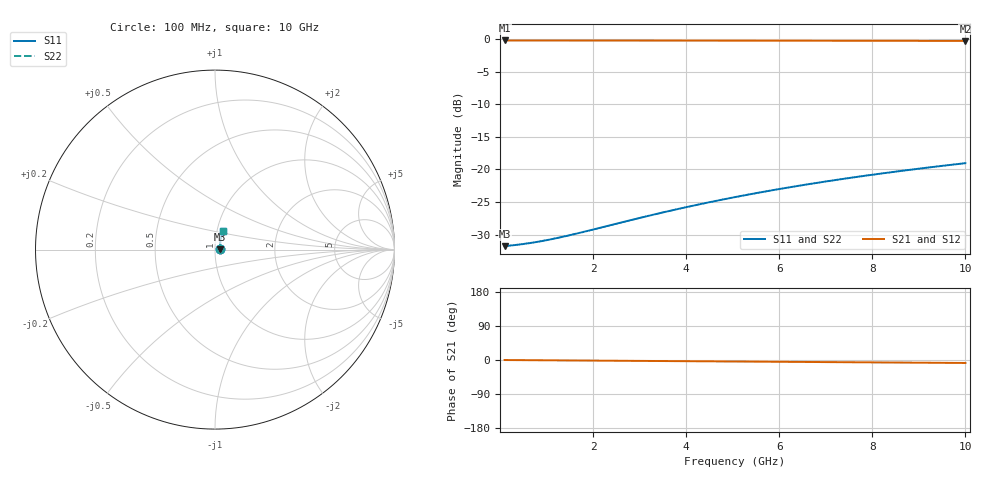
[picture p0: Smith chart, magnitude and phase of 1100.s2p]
# Hz S RI R 50.00
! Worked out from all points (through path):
!   100 points, 100 MHz to 10 GHz, reference 50 ohm
!   highest |S21| = -0.23 dB at 100 MHz (marker M1); lowest = -0.3 dB at 10 GHz (marker M2)
!   group delay of S21, straight-line fit = 2.18 ps
!   lowest |S11| = -31.8 dB at 100 MHz (marker M3), VSWR 1.05, Z = 52.6 + j0.111 ohm
!   |S11| at or under -10 dB: start of sweep to end of sweep
!   |S22| runs from -31.8 to -19.0 dB; largest |S21 - S12| = 0
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1e8  0.0258 0.00106  0.9742 -0.00134  0.9742 -0.00134  0.0258 0.00106
5e8  0.0263 0.00527  0.9737 -0.0067  0.9737 -0.0067  0.0263 0.00527
7e8  0.0265 0.00738  0.9735 -0.00938  0.9735 -0.00938  0.0265 0.00738
9e8  0.0266 0.00949  0.9734 -0.0121  0.9734 -0.0121  0.0266 0.00949
1.1e9  0.0268 0.0116  0.9732 -0.0147  0.9732 -0.0147  0.0268 0.0116
1.3e9  0.0269 0.0137  0.9731 -0.0174  0.9731 -0.0174  0.0269 0.0137
1.5e9  0.0271 0.0158  0.9729 -0.0201  0.9729 -0.0201  0.0271 0.0158
1.8e9  0.0273 0.0189  0.9726 -0.0241  0.9726 -0.0241  0.0273 0.0189
2.8e9  0.0282 0.0294  0.9717 -0.0374  0.9717 -0.0374  0.0282 0.0294
3.4e9  0.0289 0.0357  0.971 -0.0454  0.971 -0.0454  0.0289 0.0357
3.8e9  0.0294 0.0399  0.9705 -0.0507  0.9705 -0.0507  0.0294 0.0399
4.2e9  0.0299 0.0441  0.97 -0.0561  0.97 -0.0561  0.0299 0.0441
4.6e9  0.0305 0.0482  0.9694 -0.0614  0.9694 -0.0614  0.0305 0.0482
5.1e9  0.0312 0.0534  0.9686 -0.068  0.9686 -0.068  0.0312 0.0534
5.5e9  0.0319 0.0576  0.968 -0.0733  0.968 -0.0733  0.0319 0.0576
5.9e9  0.0326 0.0617  0.9672 -0.0786  0.9672 -0.0786  0.0326 0.0617
6.3e9  0.0333 0.0658  0.9665 -0.0838  0.9665 -0.0838  0.0333 0.0658
6.7e9  0.0341 0.0699  0.9657 -0.0891  0.9657 -0.0891  0.0341 0.0699
7.5e9  0.0358 0.0781  0.9639 -0.0996  0.9639 -0.0996  0.0358 0.0781
8.4e9  0.038 0.0873  0.9617 -0.1113  0.9617 -0.1113  0.038 0.0873
9.2e9  0.04 0.0954  0.9596 -0.1217  0.9596 -0.1217  0.04 0.0954
1e10  0.0423 0.1034  0.9573 -0.132  0.9573 -0.132  0.0423 0.1034
